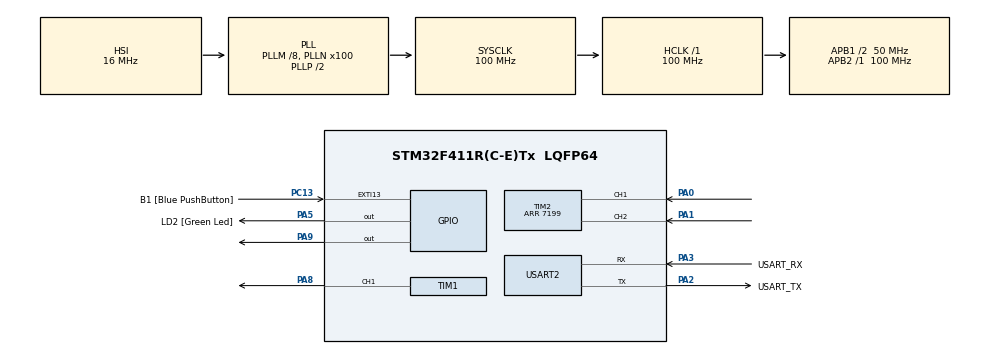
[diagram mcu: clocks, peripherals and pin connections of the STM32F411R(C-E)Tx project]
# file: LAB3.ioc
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ARM.CMSIS.5.6.0.CMSISJjCORE=true
ARM.CMSIS.5.6.0.CMSISJjDSP=Library
Mcu.Family=STM32F4
Mcu.Name=STM32F411R(C-E)Tx
Mcu.Package=LQFP64
NVIC.PriorityGroup=NVIC_PRIORITYGROUP_0
NVIC.TIM1_TRG_COM_TIM11_IRQn=true\:0\:0\:false\:false\:true\:true\:true
PA0-WKUP.Signal=S_TIM2_CH1_ETR
PA1.Signal=S_TIM2_CH2
PA13.GPIO_Label=TMS
PA13.Mode=Serial_Wire
PA13.Signal=SYS_JTMS-SWDIO
PA14.GPIO_Label=TCK
PA14.Mode=Serial_Wire
PA14.Signal=SYS_JTCK-SWCLK
PA2.GPIO_Label=USART_TX
PA2.Mode=Asynchronous
PA2.Signal=USART2_TX
PA3.GPIO_Label=USART_RX
PA3.Mode=Asynchronous
PA3.Signal=USART2_RX
PA5.GPIO_Label=LD2 [Green Led]
PA5.Signal=GPIO_Output
PA8.Signal=S_TIM1_CH1
PA9.Signal=GPIO_Output
PB3.GPIO_Label=SWO
PB3.Signal=SYS_JTDO-SWO
PC13-ANTI_TAMP.GPIO_Label=B1 [Blue PushButton]
PC13-ANTI_TAMP.GPIO_ModeDefaultEXTI=GPIO_MODE_IT_FALLING
PC13-ANTI_TAMP.Signal=GPXTI13
PC14-OSC32_IN.Mode=LSE-External-Oscillator
PC14-OSC32_IN.Signal=RCC_OSC32_IN
PC15-OSC32_OUT.Mode=LSE-External-Oscillator
PC15-OSC32_OUT.Signal=RCC_OSC32_OUT
PH0\ -\ OSC_IN.Mode=HSE-External-Clock-Source
PH0\ -\ OSC_IN.Signal=RCC_OSC_IN
PH1\ -\ OSC_OUT.Mode=HSE-External-Clock-Source
PH1\ -\ OSC_OUT.Signal=RCC_OSC_OUT
ProjectManager.HeapSize=0x200
ProjectManager.StackSize=0x400
ProjectManager.TargetToolchain=STM32CubeIDE
RCC.48MHZClocksFreq_Value=50000000
RCC.AHBFreq_Value=100000000
RCC.APB1CLKDivider=RCC_HCLK_DIV2
RCC.APB1Freq_Value=50000000
RCC.APB1TimFreq_Value=100000000
RCC.APB2Freq_Value=100000000
RCC.APB2TimFreq_Value=100000000
RCC.CortexFreq_Value=100000000
RCC.FLatency-AdvancedSettings=FLASH_LATENCY_3
RCC.HCLKFreq_Value=100000000
RCC.HSE_VALUE=8000000
RCC.HSI_VALUE=16000000
RCC.PLLM=8
RCC.PLLN=100
RCC.SYSCLKFreq_VALUE=100000000
RCC.SYSCLKSource=RCC_SYSCLKSOURCE_PLLCLK
RCC.VCOOutputFreq_Value=200000000
SH.S_TIM1_CH1.0=TIM1_CH1,PWM Generation1 CH1
SH.S_TIM2_CH1_ETR.0=TIM2_CH1,Encoder_Interface
SH.S_TIM2_CH2.0=TIM2_CH2,Encoder_Interface
TIM1.Channel-PWM\ Generation1\ CH1=TIM_CHANNEL_1
TIM1.Period=499
TIM1.Prescaler=9
TIM11.Prescaler=99
TIM2.EncoderMode=TIM_ENCODERMODE_TI12
TIM2.Period=7199
USART2.VirtualMode=VM_ASYNC
VP_ARM.CMSIS_VS_CMSISJjCORE_5.3.0_5.6.0.Mode=CMSISJjCORE
VP_ARM.CMSIS_VS_CMSISJjDSP_1.7.0_5.6.0.Mode=CMSISJjDSP
VP_TIM11_VS_ClockSourceINT.Mode=Enable_Timer
board=NUCLEO-F411RE

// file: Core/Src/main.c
/* USER CODE BEGIN Header */
/**
  ******************************************************************************
  * @file           : main.c
  * @brief          : Main program body
  ******************************************************************************
  * @attention
  *
  * Copyright (c) 2022 STMicroelectronics.
  * All rights reserved.
  *
  * This software is licensed under terms that can be found in the LICENSE file
  * in the root directory of this software component.
  * If no LICENSE file comes with this software, it is provided AS-IS.
  *
  ******************************************************************************
  */
/* USER CODE END Header */
#include "main.h"

/* USER CODE BEGIN Includes */
#include "arm_math.h"
/* USER CODE END Includes */

TIM_HandleTypeDef htim1;
TIM_HandleTypeDef htim2;
TIM_HandleTypeDef htim11;

UART_HandleTypeDef huart2;

/* USER CODE BEGIN PV */
uint64_t _micro = 0;
const float dt = 0.001;
float32_t F_data[9] = {1,dt,0.5*dt*dt,0,1,dt,0,0,1};
arm_matrix_instance_f32 F;
float32_t X_data[3] = {0};
arm_matrix_instance_f32 X;
float32_t X_l_data[3] = {0,0,0};
arm_matrix_instance_f32 X_l;
float32_t P_data[9] = {0};
arm_matrix_instance_f32 P;
float32_t P_l_data[9] = {1,1,1,1,1,1,1,1,1};
arm_matrix_instance_f32 P_l;
float32_t FP_data[9] = {0};
arm_matrix_instance_f32 FP;
float32_t Ft_data[9] = {0};
arm_matrix_instance_f32 Ft;
float32_t FPFt_data[9] = {0};
arm_matrix_instance_f32 FPFt;
const double var = 5;
float32_t Q_data[9] = {dt*dt*dt*dt*var/4,dt*dt*dt*var/2,dt*dt*var/2,
		dt*dt*dt*var/2,dt*dt*var,dt*var,
		dt*dt*var/2,dt*var,var};
arm_matrix_instance_f32 Q;
float32_t R_data[4] = {1,10,10,36000};
arm_matrix_instance_f32 R;
float32_t H_data[6] = {1,0,0,0,1,0};
arm_matrix_instance_f32 H;
float32_t Ht_data[6] = {0};
arm_matrix_instance_f32 Ht;
float32_t HP_data[6] = {0};
arm_matrix_instance_f32 HP;
float32_t PHt_data[6] = {0};
arm_matrix_instance_f32 PHt;
float32_t HPHt_data[4] = {0};
arm_matrix_instance_f32 HPHt;
float32_t HPHt_R_data[4] = {0};
arm_matrix_instance_f32 HPHt_R;
float32_t HPHt_R_inv_data[4] = {0};
arm_matrix_instance_f32 HPHt_R_inv;
float32_t K_data[6] = {0};
arm_matrix_instance_f32 K;
float32_t KH_data[9] = {0};
arm_matrix_instance_f32 KH;
float32_t z_data[2] = {0};
arm_matrix_instance_f32 z;
float32_t y_data[2] = {0};
arm_matrix_instance_f32 y;
float32_t z_y_data[2] = {0};
arm_matrix_instance_f32 z_y;
float32_t Kz_y_data[3] = {0};
arm_matrix_instance_f32 Kz_y;
float32_t I_data[9] = {1,0,0,0,1,0,0,0,1};
arm_matrix_instance_f32 I;
float32_t I_KH_data[9] = {0};
arm_matrix_instance_f32 I_KH;
int q[2] = {0};
int step = 0;
int pos[2] = {0};
/* USER CODE END PV */

void SystemClock_Config(void);
static void MX_GPIO_Init(void);
static void MX_USART2_UART_Init(void);
static void MX_TIM2_Init(void);
static void MX_TIM11_Init(void);
static void MX_TIM1_Init(void);
/* USER CODE BEGIN PFP */
uint64_t Micros();
/* USER CODE END PFP */

int main(void)
{

  /* MCU Configuration--------------------------------------------------------*/

  /* Reset of all peripherals, Initializes the Flash interface and the Systick. */
  HAL_Init();

  /* Configure the system clock */
  SystemClock_Config();

  /* Initialize all configured peripherals */
  MX_GPIO_Init();
  MX_USART2_UART_Init();
  MX_TIM2_Init();
  MX_TIM11_Init();
  MX_TIM1_Init();
  /* USER CODE BEGIN 2 */
  //init matrix
  arm_mat_init_f32(&F, 3, 3, F_data);
  arm_mat_init_f32(&FP, 3, 3, FP_data);
  arm_mat_init_f32(&Ft, 3, 3, Ft_data);
  arm_mat_init_f32(&FPFt, 3, 3, FPFt_data);
  arm_mat_init_f32(&X, 3, 1, X_data);
  arm_mat_init_f32(&X_l, 3, 1, X_l_data);
  arm_mat_init_f32(&P, 3, 3, P_data);
  arm_mat_init_f32(&P_l, 3, 3, P_l_data);
  arm_mat_init_f32(&Q, 3, 3, Q_data);
  arm_mat_init_f32(&z, 2, 1, z_data);
  arm_mat_init_f32(&y, 2, 1, y_data);
  arm_mat_init_f32(&z_y, 2, 1, z_y_data);
  arm_mat_init_f32(&Kz_y, 3, 1, Kz_y_data);
  arm_mat_init_f32(&R, 2, 2, R_data);
  arm_mat_init_f32(&H, 2, 3, H_data);
  arm_mat_init_f32(&Ht, 3, 2, Ht_data);
  arm_mat_init_f32(&HP, 2, 3, HP_data);
  arm_mat_init_f32(&KH, 3, 3, KH_data);
  arm_mat_init_f32(&PHt, 3, 2, PHt_data);
  arm_mat_init_f32(&HPHt, 2, 2, HPHt_data);
  arm_mat_init_f32(&HPHt_R, 2, 2, HPHt_R_data);
  arm_mat_init_f32(&HPHt_R_inv, 2, 2, HPHt_R_inv_data);
  arm_mat_init_f32(&K, 3, 2, K_data);
  arm_mat_init_f32(&I, 3, 3, I_data);
  arm_mat_init_f32(&I_KH, 3, 3, I_KH_data);
  arm_mat_trans_f32(&H, &Ht);
  arm_mat_trans_f32(&F, &Ft);
  //
  HAL_TIM_PWM_Start(&htim1, TIM_CHANNEL_1);
  HAL_TIM_Base_Start_IT (&htim11);
  	HAL_TIM_Encoder_Start(&htim2, TIM_CHANNEL_ALL);
  	q[0]=TIM2->CNT;
  	q[1]=q[0];
  /* USER CODE END 2 */

  /* Infinite loop */
  /* USER CODE BEGIN WHILE */
  while (1)
  {
	  static int timeStamp = 0;
	  		if (Micros() - timeStamp > 1000) {
	  			timeStamp = Micros();
	  			TIM1->CCR1 = 0;
	  			q[0] = TIM2->CNT;
	  			if(q[0]-q[1]<-1000){
	  				step+=7200;
	  			}
	  			else if(q[0]-q[1]>=1000){
	  				step-=7200;
	  			}
	  			pos[0] = q[0] + step;
	  			z_data[0]=pos[0];
	  			z_data[1]=(pos[0]-pos[1])/dt;
	  			//predict
	  			arm_mat_mult_f32(&F, &X_l, &X);
	  			arm_mat_mult_f32(&F, &P_l, &FP);
	  			arm_mat_mult_f32(&FP, &Ft, &FPFt);
	  			arm_mat_add_f32(&FPFt, &Q, &P);
	  			//correct
	  			arm_mat_mult_f32(&P, &Ht, &PHt);
	  			arm_mat_mult_f32(&H, &P, &HP);
	  			arm_mat_mult_f32(&HP, &Ht, &HPHt);
	  			arm_mat_add_f32(&HPHt, &R, &HPHt_R);
	  			arm_mat_inverse_f32(&HPHt_R, &HPHt_R_inv);
	  			arm_mat_mult_f32(&PHt, &HPHt_R_inv, &K);
	  			arm_mat_mult_f32(&H, &X, &y);
	  			arm_mat_sub_f32(&z, &y, &z_y);
	  			arm_mat_mult_f32(&K, &z_y, &Kz_y);
	  			arm_mat_add_f32(&X, &Kz_y, &X_l);
	  			arm_mat_mult_f32(&K, &H, &KH);
	  			arm_mat_sub_f32(&I, &KH, &I_KH);
	  			arm_mat_mult_f32(&I_KH, &P, &P_l);
	  			q[1] = q[0];
	  			pos[1] = pos[0];
	  		}
    /* USER CODE END WHILE */

  }
}

void SystemClock_Config(void)
{
  RCC_OscInitTypeDef RCC_OscInitStruct = {0};
  RCC_ClkInitTypeDef RCC_ClkInitStruct = {0};

  /** Configure the main internal regulator output voltage
  */
  __HAL_RCC_PWR_CLK_ENABLE();
  __HAL_PWR_VOLTAGESCALING_CONFIG(PWR_REGULATOR_VOLTAGE_SCALE1);
  /** Initializes the RCC Oscillators according to the specified parameters
  * in the RCC_OscInitTypeDef structure.
  */
  RCC_OscInitStruct.OscillatorType = RCC_OSCILLATORTYPE_HSI;
  RCC_OscInitStruct.HSIState = RCC_HSI_ON;
  RCC_OscInitStruct.HSICalibrationValue = RCC_HSICALIBRATION_DEFAULT;
  RCC_OscInitStruct.PLL.PLLState = RCC_PLL_ON;
  RCC_OscInitStruct.PLL.PLLSource = RCC_PLLSOURCE_HSI;
  RCC_OscInitStruct.PLL.PLLM = 8;
  RCC_OscInitStruct.PLL.PLLN = 100;
  RCC_OscInitStruct.PLL.PLLP = RCC_PLLP_DIV2;
  RCC_OscInitStruct.PLL.PLLQ = 4;
  if (HAL_RCC_OscConfig(&RCC_OscInitStruct) != HAL_OK)
  {
    Error_Handler();
  }
  /** Initializes the CPU, AHB and APB buses clocks
  */
  RCC_ClkInitStruct.ClockType = RCC_CLOCKTYPE_HCLK|RCC_CLOCKTYPE_SYSCLK
                              |RCC_CLOCKTYPE_PCLK1|RCC_CLOCKTYPE_PCLK2;
  RCC_ClkInitStruct.SYSCLKSource = RCC_SYSCLKSOURCE_PLLCLK;
  RCC_ClkInitStruct.AHBCLKDivider = RCC_SYSCLK_DIV1;
  RCC_ClkInitStruct.APB1CLKDivider = RCC_HCLK_DIV2;
  RCC_ClkInitStruct.APB2CLKDivider = RCC_HCLK_DIV1;

  if (HAL_RCC_ClockConfig(&RCC_ClkInitStruct, FLASH_LATENCY_3) != HAL_OK)
  {
    Error_Handler();
  }
}

static void MX_TIM1_Init(void)
{

  TIM_MasterConfigTypeDef sMasterConfig = {0};
  TIM_OC_InitTypeDef sConfigOC = {0};
  TIM_BreakDeadTimeConfigTypeDef sBreakDeadTimeConfig = {0};

  htim1.Instance = TIM1;
  htim1.Init.Prescaler = 9;
  htim1.Init.CounterMode = TIM_COUNTERMODE_UP;
  htim1.Init.Period = 499;
  htim1.Init.ClockDivision = TIM_CLOCKDIVISION_DIV1;
  htim1.Init.RepetitionCounter = 0;
  htim1.Init.AutoReloadPreload = TIM_AUTORELOAD_PRELOAD_DISABLE;
  if (HAL_TIM_PWM_Init(&htim1) != HAL_OK)
  {
    Error_Handler();
  }
  sMasterConfig.MasterOutputTrigger = TIM_TRGO_RESET;
  sMasterConfig.MasterSlaveMode = TIM_MASTERSLAVEMODE_DISABLE;
  if (HAL_TIMEx_MasterConfigSynchronization(&htim1, &sMasterConfig) != HAL_OK)
  {
    Error_Handler();
  }
  sConfigOC.OCMode = TIM_OCMODE_PWM1;
  sConfigOC.Pulse = 0;
  sConfigOC.OCPolarity = TIM_OCPOLARITY_HIGH;
  sConfigOC.OCNPolarity = TIM_OCNPOLARITY_HIGH;
  sConfigOC.OCFastMode = TIM_OCFAST_DISABLE;
  sConfigOC.OCIdleState = TIM_OCIDLESTATE_RESET;
  sConfigOC.OCNIdleState = TIM_OCNIDLESTATE_RESET;
  if (HAL_TIM_PWM_ConfigChannel(&htim1, &sConfigOC, TIM_CHANNEL_1) != HAL_OK)
  {
    Error_Handler();
  }
  sBreakDeadTimeConfig.OffStateRunMode = TIM_OSSR_DISABLE;
  sBreakDeadTimeConfig.OffStateIDLEMode = TIM_OSSI_DISABLE;
  sBreakDeadTimeConfig.LockLevel = TIM_LOCKLEVEL_OFF;
  sBreakDeadTimeConfig.DeadTime = 0;
  sBreakDeadTimeConfig.BreakState = TIM_BREAK_DISABLE;
  sBreakDeadTimeConfig.BreakPolarity = TIM_BREAKPOLARITY_HIGH;
  sBreakDeadTimeConfig.AutomaticOutput = TIM_AUTOMATICOUTPUT_DISABLE;
  if (HAL_TIMEx_ConfigBreakDeadTime(&htim1, &sBreakDeadTimeConfig) != HAL_OK)
  {
    Error_Handler();
  }
  HAL_TIM_MspPostInit(&htim1);

}

static void MX_TIM2_Init(void)
{

  TIM_Encoder_InitTypeDef sConfig = {0};
  TIM_MasterConfigTypeDef sMasterConfig = {0};

  htim2.Instance = TIM2;
  htim2.Init.Prescaler = 0;
  htim2.Init.CounterMode = TIM_COUNTERMODE_UP;
  htim2.Init.Period = 7199;
  htim2.Init.ClockDivision = TIM_CLOCKDIVISION_DIV1;
  htim2.Init.AutoReloadPreload = TIM_AUTORELOAD_PRELOAD_DISABLE;
  sConfig.EncoderMode = TIM_ENCODERMODE_TI12;
  sConfig.IC1Polarity = TIM_ICPOLARITY_RISING;
  sConfig.IC1Selection = TIM_ICSELECTION_DIRECTTI;
  sConfig.IC1Prescaler = TIM_ICPSC_DIV1;
  sConfig.IC1Filter = 0;
  sConfig.IC2Polarity = TIM_ICPOLARITY_RISING;
  sConfig.IC2Selection = TIM_ICSELECTION_DIRECTTI;
  sConfig.IC2Prescaler = TIM_ICPSC_DIV1;
  sConfig.IC2Filter = 0;
  if (HAL_TIM_Encoder_Init(&htim2, &sConfig) != HAL_OK)
  {
    Error_Handler();
  }
  sMasterConfig.MasterOutputTrigger = TIM_TRGO_RESET;
  sMasterConfig.MasterSlaveMode = TIM_MASTERSLAVEMODE_DISABLE;
  if (HAL_TIMEx_MasterConfigSynchronization(&htim2, &sMasterConfig) != HAL_OK)
  {
    Error_Handler();
  }

}

static void MX_TIM11_Init(void)
{

  htim11.Instance = TIM11;
  htim11.Init.Prescaler = 99;
  htim11.Init.CounterMode = TIM_COUNTERMODE_UP;
  htim11.Init.Period = 65535;
  htim11.Init.ClockDivision = TIM_CLOCKDIVISION_DIV1;
  htim11.Init.AutoReloadPreload = TIM_AUTORELOAD_PRELOAD_DISABLE;
  if (HAL_TIM_Base_Init(&htim11) != HAL_OK)
  {
    Error_Handler();
  }

}

static void MX_USART2_UART_Init(void)
{

  huart2.Instance = USART2;
  huart2.Init.BaudRate = 115200;
  huart2.Init.WordLength = UART_WORDLENGTH_8B;
  huart2.Init.StopBits = UART_STOPBITS_1;
  huart2.Init.Parity = UART_PARITY_NONE;
  huart2.Init.Mode = UART_MODE_TX_RX;
  huart2.Init.HwFlowCtl = UART_HWCONTROL_NONE;
  huart2.Init.OverSampling = UART_OVERSAMPLING_16;
  if (HAL_UART_Init(&huart2) != HAL_OK)
  {
    Error_Handler();
  }

}

static void MX_GPIO_Init(void)
{
  GPIO_InitTypeDef GPIO_InitStruct = {0};

  /* GPIO Ports Clock Enable */
  __HAL_RCC_GPIOC_CLK_ENABLE();
  __HAL_RCC_GPIOH_CLK_ENABLE();
  __HAL_RCC_GPIOA_CLK_ENABLE();
  __HAL_RCC_GPIOB_CLK_ENABLE();

  /*Configure GPIO pin Output Level */
  HAL_GPIO_WritePin(GPIOA, LD2_Pin|GPIO_PIN_9, GPIO_PIN_RESET);

  /*Configure GPIO pin : B1_Pin */
  GPIO_InitStruct.Pin = B1_Pin;
  GPIO_InitStruct.Mode = GPIO_MODE_IT_FALLING;
  GPIO_InitStruct.Pull = GPIO_NOPULL;
  HAL_GPIO_Init(B1_GPIO_Port, &GPIO_InitStruct);

  /*Configure GPIO pins : LD2_Pin PA9 */
  GPIO_InitStruct.Pin = LD2_Pin|GPIO_PIN_9;
  GPIO_InitStruct.Mode = GPIO_MODE_OUTPUT_PP;
  GPIO_InitStruct.Pull = GPIO_NOPULL;
  GPIO_InitStruct.Speed = GPIO_SPEED_FREQ_LOW;
  HAL_GPIO_Init(GPIOA, &GPIO_InitStruct);

}

/* USER CODE BEGIN 4 */
void HAL_TIM_PeriodElapsedCallback(TIM_HandleTypeDef *htim) {
	if (htim == &htim11) {
		_micro += 65535;
	}
}

uint64_t Micros(){
	return _micro + TIM11->CNT;
}
/* USER CODE END 4 */

void Error_Handler(void)
{
  __disable_irq();
  while (1)
  {
  }
}
